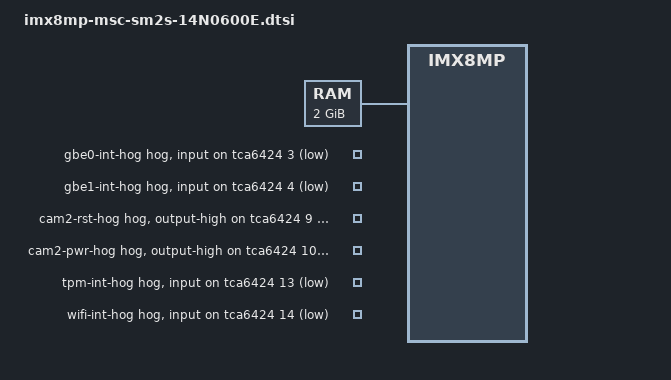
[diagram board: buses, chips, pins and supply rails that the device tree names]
// SPDX-License-Identifier: GPL-2.0
/*
 * Copyright (C) 2022 Avnet Embedded GmbH
 */
/dts-v1/;

#include "imx8mp-msc-sm2s.dtsi"

/ {
	memory@40000000 {
		device_type = "memory";
		reg = <0x0 0x40000000 0 0x80000000>; /* bank0, 2GiB */
	};
};

&cpu_alert0 {
	temperature = <95000>;
};

&cpu_crit0 {
	temperature = <105000>;
};

&soc_alert0 {
	temperature = <95000>;
};

&soc_crit0 {
	temperature = <105000>;
};

&tca6424 {
	gbe0-int-hog {
		gpio-hog;
		input;
		gpios = <3 GPIO_ACTIVE_LOW>;
	};

	gbe1-int-hog {
		gpio-hog;
		input;
		gpios = <4 GPIO_ACTIVE_LOW>;
	};

	cam2-rst-hog {
		gpio-hog;
		output-high;
		gpios = <9 GPIO_ACTIVE_LOW>;
	};

	cam2-pwr-hog {
		gpio-hog;
		output-high;
		gpios = <10 GPIO_ACTIVE_LOW>;
	};

	tpm-int-hog {
		gpio-hog;
		input;
		gpios = <13 GPIO_ACTIVE_LOW>;
	};

	wifi-int-hog {
		gpio-hog;
		input;
		gpios = <14 GPIO_ACTIVE_LOW>;
	};
};
